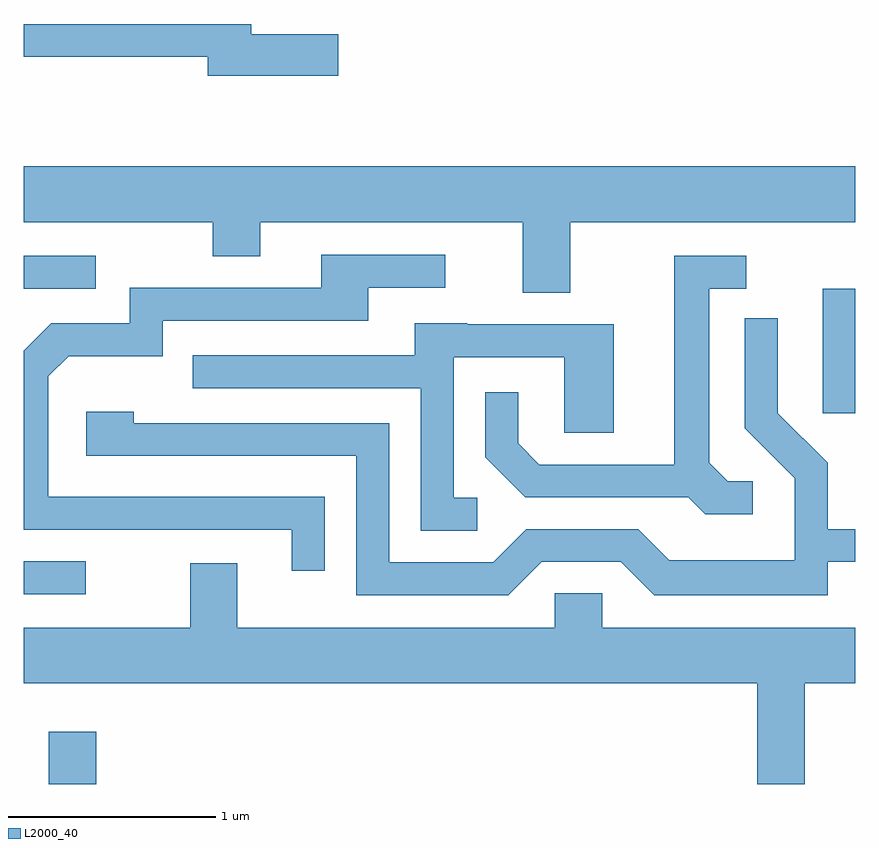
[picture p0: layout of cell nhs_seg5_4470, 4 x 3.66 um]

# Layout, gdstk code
import gdstk
lib = gdstk.Library(unit=1e-6, precision=1e-09)
def R(c, l, rs):  # rectangles x0, y0, x1, y1
    for r in rs: c.add(gdstk.rectangle(r[:2], r[2:], *l))
def P(c, l, *ps):  # polygons
    for p in ps: c.add(gdstk.Polygon(p, *l))
L2000_40 = (2000, 40)

nhs_seg5_4470 = lib.new_cell('nhs_seg5_4470')
R(nhs_seg5_4470, L2000_40, [(317.731,1474.072,317.959,1474.324), (317.611,1474.986,317.908,1475.144), (321.456,1475.856,321.611,1476.454), (317.611,1476.456,317.958,1476.614)])
P(nhs_seg5_4470, L2000_40, [(319.124,1477.679),(318.704,1477.679),(318.704,1477.729),(317.611,1477.729),(317.611,1477.571),(318.496,1477.571),(318.496,1477.481),(319.124,1477.481)],
  [(320.239,1476.776),(321.611,1476.776),(321.611,1477.044),(317.611,1477.044),(317.611,1476.776),(318.521,1476.776),(318.521,1476.611),(318.749,1476.611),(318.749,1476.776),(320.011,1476.776),(320.011,1476.436),(320.239,1476.436)],
  [(319.059,1475.454),(317.729,1475.454),(317.729,1476.034),(317.827,1476.131),(318.279,1476.131),(318.279,1476.301),(319.269,1476.301),(319.269,1476.461),(319.638,1476.461),(319.638,1476.619),(319.041,1476.619),(319.041,1476.459),(318.121,1476.459),(318.121,1476.289),(317.744,1476.289),(317.611,1476.157),(317.611,1475.296),(318.901,1475.296),(318.901,1475.098),(319.059,1475.098)],
  [(321.118,1475.529),(320.997,1475.529),(320.909,1475.617),(320.909,1476.456),(321.088,1476.456),(321.088,1476.614),(320.741,1476.614),(320.741,1475.609),(320.092,1475.609),(319.989,1475.712),(319.989,1475.958),(319.831,1475.958),(319.831,1475.644),(320.024,1475.451),(320.809,1475.451),(320.889,1475.371),(321.118,1475.371)],
  [(320.102,1475.141),(320.484,1475.141),(320.644,1474.981),(321.479,1474.981),(321.479,1475.141),(321.611,1475.141),(321.611,1475.299),(321.479,1475.299),(321.479,1475.617),(321.239,1475.857),(321.239,1476.313),(321.081,1476.313),(321.081,1475.784),(321.321,1475.544),(321.321,1475.149),(320.717,1475.149),(320.567,1475.299),(320.029,1475.299),(319.869,1475.139),(319.369,1475.139),(319.369,1475.809),(318.139,1475.809),(318.139,1475.864),(317.911,1475.864),(317.911,1475.651),(319.211,1475.651),(319.211,1474.981),(319.942,1474.981)],
  [(319.793,1475.449),(319.679,1475.449),(319.679,1476.126),(320.211,1476.126),(320.211,1475.761),(320.449,1475.761),(320.449,1476.284),(319.745,1476.284),(319.745,1476.289),(319.491,1476.289),(319.491,1476.134),(318.423,1476.134),(318.423,1475.976),(319.521,1475.976),(319.521,1475.291),(319.793,1475.291)],
  [(321.369,1474.556),(321.611,1474.556),(321.611,1474.824),(320.394,1474.824),(320.394,1474.989),(320.166,1474.989),(320.166,1474.824),(318.639,1474.824),(318.639,1475.134),(318.411,1475.134),(318.411,1474.824),(317.611,1474.824),(317.611,1474.556),(321.141,1474.556),(321.141,1474.072),(321.369,1474.072)])

lib.write_gds('nhs_seg5_4470.gds')
